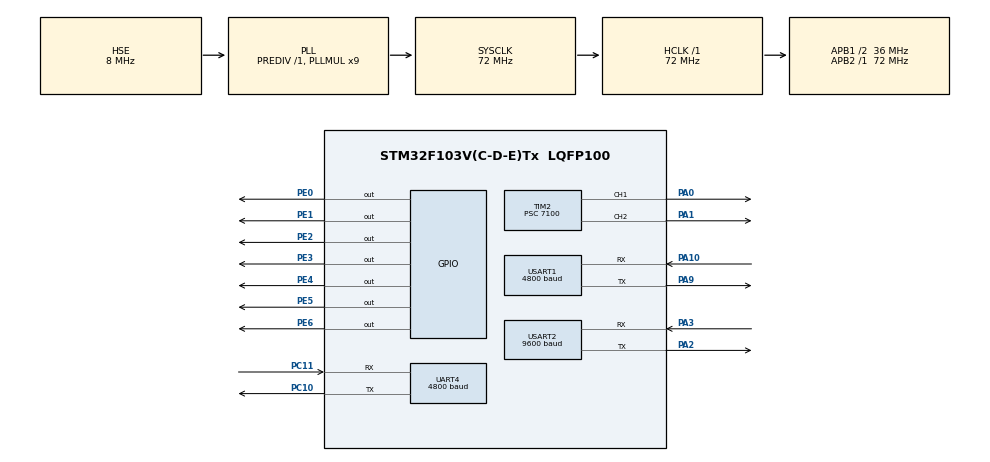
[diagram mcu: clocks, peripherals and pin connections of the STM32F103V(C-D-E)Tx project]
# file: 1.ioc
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Mcu.Family=STM32F1
Mcu.Name=STM32F103V(C-D-E)Tx
Mcu.Package=LQFP100
NVIC.PriorityGroup=NVIC_PRIORITYGROUP_4
NVIC.UART4_IRQn=true\:0\:0\:false\:false\:true\:true\:true
OSC_IN.Mode=HSE-External-Oscillator
OSC_IN.Signal=RCC_OSC_IN
OSC_OUT.Mode=HSE-External-Oscillator
OSC_OUT.Signal=RCC_OSC_OUT
PA0-WKUP.Signal=S_TIM2_CH1_ETR
PA1.Signal=S_TIM2_CH2
PA10.Mode=Asynchronous
PA10.Signal=USART1_RX
PA13.Mode=Serial_Wire
PA13.Signal=SYS_JTMS-SWDIO
PA14.Mode=Serial_Wire
PA14.Signal=SYS_JTCK-SWCLK
PA2.Mode=Asynchronous
PA2.Signal=USART2_TX
PA3.Mode=Asynchronous
PA3.Signal=USART2_RX
PA9.Mode=Asynchronous
PA9.Signal=USART1_TX
PC10.Mode=Asynchronous
PC10.Signal=UART4_TX
PC11.Mode=Asynchronous
PC11.Signal=UART4_RX
PC14-OSC32_IN.Mode=LSE-External-Oscillator
PC14-OSC32_IN.Signal=RCC_OSC32_IN
PC15-OSC32_OUT.Mode=LSE-External-Oscillator
PC15-OSC32_OUT.Signal=RCC_OSC32_OUT
PE0.GPIO_Speed=GPIO_SPEED_FREQ_HIGH
PE0.PinState=GPIO_PIN_SET
PE0.Signal=GPIO_Output
PE1.GPIO_Speed=GPIO_SPEED_FREQ_HIGH
PE1.PinState=GPIO_PIN_SET
PE1.Signal=GPIO_Output
PE2.GPIO_Speed=GPIO_SPEED_FREQ_HIGH
PE2.PinState=GPIO_PIN_SET
PE2.Signal=GPIO_Output
PE3.GPIO_Speed=GPIO_SPEED_FREQ_HIGH
PE3.PinState=GPIO_PIN_SET
PE3.Signal=GPIO_Output
PE4.GPIO_Speed=GPIO_SPEED_FREQ_HIGH
PE4.PinState=GPIO_PIN_SET
PE4.Signal=GPIO_Output
PE5.GPIO_Speed=GPIO_SPEED_FREQ_HIGH
PE5.PinState=GPIO_PIN_SET
PE5.Signal=GPIO_Output
PE6.GPIO_Speed=GPIO_SPEED_FREQ_LOW
PE6.PinState=GPIO_PIN_RESET
PE6.Signal=GPIO_Output
ProjectManager.HeapSize=0x200
ProjectManager.StackSize=0x400
ProjectManager.TargetToolchain=MDK-ARM V5
RCC.AHBFreq_Value=72000000
RCC.APB1CLKDivider=RCC_HCLK_DIV2
RCC.APB1Freq_Value=36000000
RCC.APB1TimFreq_Value=72000000
RCC.APB2Freq_Value=72000000
RCC.APB2TimFreq_Value=72000000
RCC.HCLKFreq_Value=72000000
RCC.PLLMUL=RCC_PLL_MUL9
RCC.PLLSourceVirtual=RCC_PLLSOURCE_HSE
RCC.SYSCLKFreq_VALUE=72000000
RCC.SYSCLKSource=RCC_SYSCLKSOURCE_PLLCLK
RCC.TimSys_Div=SYSTICK_CLKSOURCE_HCLK_DIV8
RCC.USBFreq_Value=72000000
SH.S_TIM2_CH1_ETR.0=TIM2_CH1,PWM Generation1 CH1
SH.S_TIM2_CH2.0=TIM2_CH2,PWM Generation2 CH2
TIM2.AutoReloadPreload=TIM_AUTORELOAD_PRELOAD_ENABLE
TIM2.Channel-PWM\ Generation1\ CH1=TIM_CHANNEL_1
TIM2.Channel-PWM\ Generation2\ CH2=TIM_CHANNEL_2
TIM2.Period=200-1
TIM2.Prescaler=7100
TIM2.Pulse-PWM\ Generation1\ CH1=5
TIM2.Pulse-PWM\ Generation2\ CH2=5
UART4.BaudRate=4800
UART4.VirtualMode=Asynchronous
USART1.BaudRate=4800
USART1.VirtualMode=VM_ASYNC
USART2.BaudRate=9600
USART2.VirtualMode=VM_ASYNC
VP_TIM2_VS_ClockSourceINT.Mode=Internal
board=custom

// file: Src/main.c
/* USER CODE BEGIN Header */
/**
  ******************************************************************************
  * @file           : main.c
  * @brief          : Main program body
  ******************************************************************************
  * @attention
  *
  * <h2><center>&copy; Copyright (c) 2021 STMicroelectronics.
  * All rights reserved.</center></h2>
  *
  * This software component is licensed by ST under BSD 3-Clause license,
  * the "License"; You may not use this file except in compliance with the
  * License. You may obtain a copy of the License at:
  *                        opensource.org/licenses/BSD-3-Clause
  *
  ******************************************************************************
  */
/* USER CODE END Header */

#include "main.h"
#include "tim.h"
#include "usart.h"
#include "gpio.h"

/* USER CODE BEGIN PV */
uint8_t buff_red[128]={0x64,0x10,0x00,0x00,0x00,0x06,0x0C,0x00,0x01,0x00,0x04,0x00,0x0F,0x00,0X0F,0x00,0x0F,0x00,0x0F,0xB5,0x29};
uint8_t buff_green[128]={0x64,0x10,0x00,0x00,0x00,0x06,0x0C,0x00,0x01,0x00,0x04,0x00,0xF0,0x00,0XF0,0x00,0xF0,0x00,0xF0,0xDE,0x42};
uint8_t buff_blue[128]={0x64,0x10,0x00,0x00,0x00,0x06,0x0C,0x00,0x01,0x00,0x04,0x0F,0x00,0x0F,0X00,0x0F,0x00,0x0F,0x00,0x28,0x74};
uint8_t buff_buzz[128]={0x64,0x10,0x00,0x1E,0x00,0x05,0x0A,0x00,0x01,0x0B,0xB8,0x00,0x0F,0x00,0XC8,0X01,0XF4,0X85,0X69};
uint8_t buff_all_off[128]={0X64,0X10,0X00,0X00,0X00,0X01,0X02,0X00,0X00,0X31,0X02};
 uint8_t Flag=0;
 uint8_t flag_pwm=0;//CHANNEL1标记 门
 uint8_t flag_pwm1=0;//CHANNEL2标记 窗
 uint8_t flag_cur=0; //窗帘标记
 uint8_t flag_tem=0;
 uint8_t flag_hum=0;
 uint8_t flag_co2=0;
 uint8_t flag_ill=0;
 uint8_t flag_peo=0;
 uint8_t flag_yan=0;
 uint8_t flag_fire=0;
 uint8_t flag_co=0;
 uint8_t flag_mq135=0;
 uint8_t flag_sound=0;
 uint8_t flag_pts=0;
 uint8_t flag_elec=0;
static uint8_t flag_btn_light=0;
static uint8_t flag_btn_fan=0;
static uint8_t flag_btn_window=0;
static uint8_t flag_btn_door=0;
static uint8_t flag_btn_cur=0;
uint8_t buff[20];
uint8_t usart4RxBuf[20];
uint8_t i;
uint8_t ReceiveOK=0;
uint8_t RxCount=0;
uint8_t RxBuffer;
/* USER CODE END PV */

void SystemClock_Config(void);

int main(void)
{

  /* MCU Configuration--------------------------------------------------------*/

  /* Reset of all peripherals, Initializes the Flash interface and the Systick. */
  HAL_Init();

  /* Configure the system clock */
  SystemClock_Config();

  /* Initialize all configured peripherals */
  MX_GPIO_Init();
  MX_USART1_UART_Init();
  MX_USART2_UART_Init();
  MX_TIM2_Init();
  MX_UART4_Init();
  /* USER CODE BEGIN 2 */

	HAL_UART_Transmit(&huart1,(uint8_t *)"hello word",10,0XFFFF);

	HAL_TIM_PWM_Start(&htim2,TIM_CHANNEL_1);
	HAL_TIM_PWM_Start(&htim2,TIM_CHANNEL_2);//开启信道

	HAL_UART_Receive_IT(&huart4,&RxBuffer,1); //uart4接受字符

  /* USER CODE END 2 */

  /* Infinite loop */
  /* USER CODE BEGIN WHILE */
  while (1)
  {

		if(ReceiveOK==1)
		{
			ReceiveOK=0;
HAL_UART_Transmit(&huart1,buff,18,0XFFFF);
			Flag=0;

			if(buff[0]=='D' && buff[1]=='D' && buff[14]=='S' && buff[15]=='P' )  //校验头尾
			{
				Flag=1;
			}
			else if(buff[0]=='K' && buff[1]=='Z' && buff[14]=='S' && buff[15]=='P' )  //校验头尾
			{
				Flag=2;
			}

    /* USER CODE END WHILE */

    /* USER CODE BEGIN 3 */

			if (Flag==1)
		{
				/************数据处理****************/

				if(buff[2]=='1') //温度
				{
					flag_tem=1;
				}
					else
					{
					flag_tem=0;
					}
				if(buff[3]=='1') //湿度
				{
					flag_hum=1;
				}
					else
					{
					flag_hum=0;
					}
					if(buff[4]=='1') //co2
				{

					flag_co2=1;
				}
					else
					{
					flag_co2=0;
					}
					if(buff[5]=='1') //光照
				{
					flag_ill=1;
				}
					else
					{
					flag_ill=0;
					}
					if(buff[6]=='1') //人体
				{
					flag_peo=1;
				}
					else
					{
					flag_peo=0;
					}
					if(buff[7]=='1') //烟雾
				{
					flag_yan=1;
				}
					else
					{
					flag_yan=0;
					}
					if(buff[8]=='1') //火焰控制报警灯，拉高pe6，开启串口二485发送，控制报警灯
				{
					flag_fire=1;
				}
					else
					{
					flag_fire=0;
					}
					if(buff[9]=='1') //CO
				{
					flag_co=1;
				}
					else
					{
					flag_co=0;
					}
					if(buff[10]=='1') //mq135有毒气体
				{
					flag_mq135=1;
				}
					else
					{
					flag_mq135=0;
					}
					if(buff[11]=='1') //声音
				{
					flag_sound=1;
				}
					else
					{
					flag_sound=0;
					}
					if(buff[12]=='1') //光敏
				{
					flag_pts=1;
				}
					else
					{
					flag_pts=0;
					}
					if(buff[13]=='1')//电量
				{
					flag_elec=1;
				}
					else
					{
					flag_elec=0;
					}
							  for(int i=0;i<18;i++)//清空数组
								{
									buff[i]=0;
								}
				Flag=0;
		}

		if(Flag==2)
		{
					//灯
					if(buff[2]=='K' && buff[3]=='D')
				{
					 flag_btn_light=1;
				}
					else if(buff[2]=='G' && buff[3]=='D')
					{
							flag_btn_light=0;
					}

					//开门
						if(buff[4]=='K' && buff[5]=='M')
				{
							flag_btn_door=1;

				}
					else if(buff[4]=='G' && buff[5]=='M')
					{
							flag_btn_door=0;

					}
			//风扇
						if(buff[6]=='K' && buff[7]=='F' && buff[8]=='S')
				{
						flag_btn_fan=1;
				}
					else if(buff[6]=='G' && buff[7]=='F' && buff[8]=='S')
					{
							flag_btn_fan=0;
					}
					//窗帘
						if(buff[9]=='K' && buff[10]=='C' && buff[11]=='L')
				{
						flag_btn_cur=1;
				}
					else if(buff[9]=='G' && buff[10]=='C' && buff[11]=='L')
					{
							flag_btn_cur=0;
					}
					//窗 channel 2
						if(buff[12]=='K' && buff[13]=='C')
				{
							flag_btn_window=1;
				}
					else if(buff[12]=='G' && buff[13]=='C')
					{
							flag_btn_window=0;
					}

												  for(int i=0;i<18;i++)//清空数组
													{
														buff[i]=0;
													}
					Flag=0;
		}

  }

	//app按键处理
	//1.灯 pe0
	if(flag_btn_light==1)
	{
		HAL_GPIO_WritePin(GPIOE,GPIO_PIN_4,GPIO_PIN_RESET);	 //顶灯1
		HAL_GPIO_WritePin(GPIOE,GPIO_PIN_5,GPIO_PIN_RESET);	 //顶灯2
	}
	else if(flag_btn_light==0)
					{
			HAL_GPIO_WritePin(GPIOE,GPIO_PIN_4,GPIO_PIN_SET);	 //顶灯1
			HAL_GPIO_WritePin(GPIOE,GPIO_PIN_5,GPIO_PIN_SET);	 //顶灯2
		}
		//1.灯，服务器下发数据控制
		//人体，声音，光敏 有人为1 声音为1，光照有光为1
	//	if(flag_peo==1 || flag_sound==1 || flag_ill==0)//如果有人||有声音||无光
		if(flag_peo==1 || flag_sound==1)//如果有人||有声音
		{
			HAL_GPIO_WritePin(GPIOE,GPIO_PIN_0,GPIO_PIN_RESET);		//楼道灯
			HAL_Delay(5000);
			HAL_GPIO_WritePin(GPIOE,GPIO_PIN_0,GPIO_PIN_SET);
		}

	//2.风扇 ，按键控制 pe1
			if(flag_btn_fan==1)
	{
		HAL_GPIO_WritePin(GPIOE,GPIO_PIN_1,GPIO_PIN_RESET);
	}
	else if(flag_btn_fan==0)
					{
			HAL_GPIO_WritePin(GPIOE,GPIO_PIN_1,GPIO_PIN_SET);
		}
	//2.风扇下发数据控制

			if(flag_tem==1 || flag_yan==1 )//如果温度太高或者烟雾很大
		{
			HAL_GPIO_WritePin(GPIOE,GPIO_PIN_1,GPIO_PIN_RESET);
		}

	//3.窗户.app按键控制
				if(flag_pwm1==0 && flag_btn_window==1)
	{
	 	__HAL_TIM_SET_COMPARE(&htim2,TIM_CHANNEL_2,15);  //转90度--开窗
			HAL_Delay(500);
			flag_pwm1=1;
	}
		else if(flag_pwm1==1 && flag_btn_window==0)
						{
				__HAL_TIM_SET_COMPARE(&htim2,TIM_CHANNEL_2,5);  //关
				HAL_Delay(500);
				flag_pwm1=0;
			}
	  //3.下发数据控制
			if(flag_pwm1==0 && (flag_co2 || flag_co || flag_mq135))
			{
				 	__HAL_TIM_SET_COMPARE(&htim2,TIM_CHANNEL_2,15);  //转90度--开窗
			HAL_Delay(500);
			flag_pwm1=1;
			}

			//4.门app控制
			if(flag_pwm==0 && flag_btn_door==1)
			{
				__HAL_TIM_SET_COMPARE(&htim2,TIM_CHANNEL_1,15);  //90度
							HAL_Delay(500);
							flag_pwm=1;
			}
			else if(flag_pwm==1 && flag_btn_door==0)
				{
							__HAL_TIM_SET_COMPARE(&htim2,TIM_CHANNEL_1,5);  //0度
							HAL_Delay(500);
							flag_pwm=0;
					}

				//5.app控制窗帘
				if(flag_cur==0 && flag_btn_cur==1)
				{
					HAL_GPIO_WritePin(GPIOE,GPIO_PIN_2,GPIO_PIN_RESET);	//电机1 PE2   开
					HAL_Delay(1000);
					HAL_GPIO_WritePin(GPIOE,GPIO_PIN_2,GPIO_PIN_SET);
					flag_cur=1;
				}
				else if(flag_cur==1 && flag_btn_cur==0)
					{
					HAL_GPIO_WritePin(GPIOE,GPIO_PIN_3,GPIO_PIN_RESET);	//电机2  PE3   关
						HAL_Delay(1000);
						HAL_GPIO_WritePin(GPIOE,GPIO_PIN_3,GPIO_PIN_SET);
					flag_cur=0;
				}
				//	6.报警灯控制   当着火，或者检测到有毒气体时
				if(flag_fire==1 || flag_mq135==1)

				{
					//拉高pe6，开启串口二485发送，控制报警灯
					HAL_GPIO_WritePin(GPIOE,GPIO_PIN_6,GPIO_PIN_SET);
					//HAL_GPIO_WritePin(GPIOC,GPIO_PIN_9,GPIO_PIN_SET);
					HAL_UART_Transmit(&huart2,buff_red,21,0xffff);
					HAL_Delay(500);
					HAL_UART_Transmit(&huart2,buff_buzz,19,0xffff);
					HAL_Delay(500);
					HAL_UART_Transmit(&huart2,buff_green,21,0xffff);
					HAL_Delay(500);
					HAL_UART_Transmit(&huart2,buff_blue,21,0xffff);
					HAL_Delay(500);
				}
				else
				{
					HAL_UART_Transmit(&huart2,buff_all_off,11,0xffff);// 关闭
					HAL_Delay(500);
				}

}
  /* USER CODE END 3 */
}

void SystemClock_Config(void)
{
  RCC_OscInitTypeDef RCC_OscInitStruct = {0};
  RCC_ClkInitTypeDef RCC_ClkInitStruct = {0};

  /** Initializes the CPU, AHB and APB busses clocks
  */
  RCC_OscInitStruct.OscillatorType = RCC_OSCILLATORTYPE_HSE;
  RCC_OscInitStruct.HSEState = RCC_HSE_ON;
  RCC_OscInitStruct.HSEPredivValue = RCC_HSE_PREDIV_DIV1;
  RCC_OscInitStruct.HSIState = RCC_HSI_ON;
  RCC_OscInitStruct.PLL.PLLState = RCC_PLL_ON;
  RCC_OscInitStruct.PLL.PLLSource = RCC_PLLSOURCE_HSE;
  RCC_OscInitStruct.PLL.PLLMUL = RCC_PLL_MUL9;
  if (HAL_RCC_OscConfig(&RCC_OscInitStruct) != HAL_OK)
  {
    Error_Handler();
  }
  /** Initializes the CPU, AHB and APB busses clocks
  */
  RCC_ClkInitStruct.ClockType = RCC_CLOCKTYPE_HCLK|RCC_CLOCKTYPE_SYSCLK
                              |RCC_CLOCKTYPE_PCLK1|RCC_CLOCKTYPE_PCLK2;
  RCC_ClkInitStruct.SYSCLKSource = RCC_SYSCLKSOURCE_PLLCLK;
  RCC_ClkInitStruct.AHBCLKDivider = RCC_SYSCLK_DIV1;
  RCC_ClkInitStruct.APB1CLKDivider = RCC_HCLK_DIV2;
  RCC_ClkInitStruct.APB2CLKDivider = RCC_HCLK_DIV1;

  if (HAL_RCC_ClockConfig(&RCC_ClkInitStruct, FLASH_LATENCY_2) != HAL_OK)
  {
    Error_Handler();
  }
}

/* USER CODE BEGIN 4 */

void HAL_UART_RxCpltCallback(UART_HandleTypeDef *huart)
{
 if(huart->Instance==UART4)  //判断是哪个串口产生的中断
 {
  usart4RxBuf[RxCount]=RxBuffer;
  RxCount++;
  if(RxCount==18)
  {
   for(i=0;i<18;i++)
   {
    buff[i]=usart4RxBuf[i];
   }
   ReceiveOK=1;    //置位标志
   RxCount=0;
  }
  HAL_UART_Receive_IT(&huart4,&RxBuffer,1);
 }
}
/* USER CODE END 4 */

void Error_Handler(void)
{
}

/************************ (C) COPYRIGHT STMicroelectronics *****END OF FILE****/
